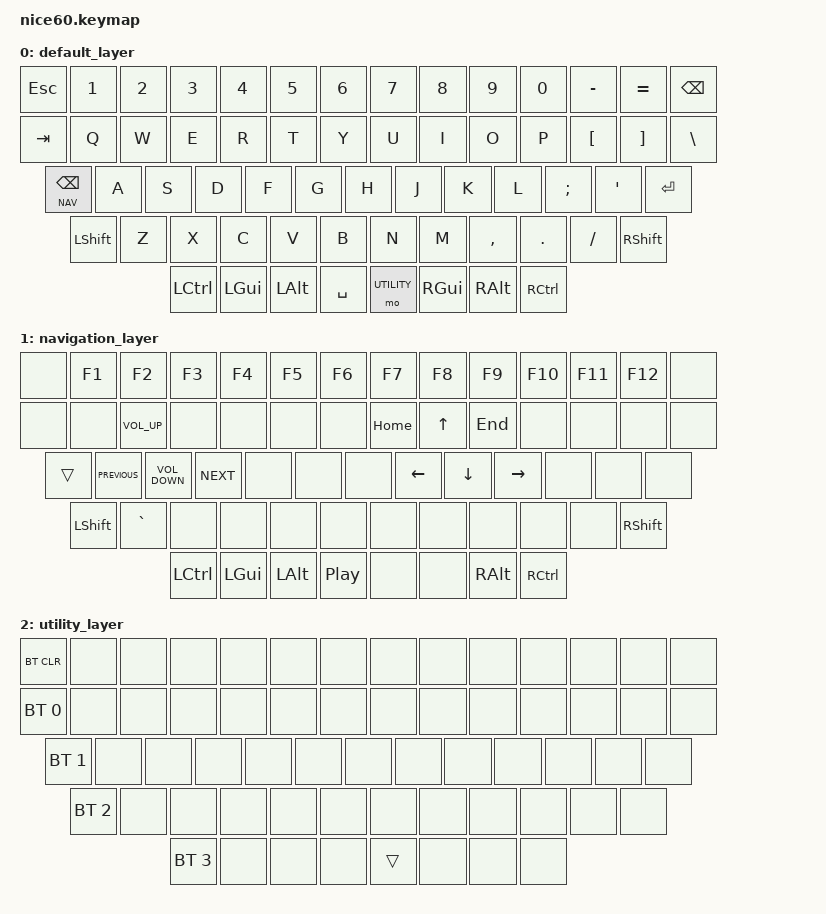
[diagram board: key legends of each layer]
/*
 * Copyright (c) 2021 Nick Winans
 *
 * SPDX-License-Identifier: MIT
 */

#include <behaviors.dtsi>
#include <dt-bindings/zmk/keys.h>
#include <dt-bindings/zmk/rgb.h>
#include <dt-bindings/zmk/bt.h>
#include <dt-bindings/zmk/outputs.h>
#include <dt-bindings/zmk/reset.h>
#include <dt-bindings/zmk/ext_power.h>

#define DEFAULT 0
#define NAV 	1
#define UTILITY 2

/ {
	keymap {
		compatible = "zmk,keymap";
		
		default_layer {
// ------------------------------------------------------------------------------------------
// | ESC |  1  |  2  |  3  |  4  |  5  |  6  |  7  |  8  |  9  |  0  |  -  |  =  |   BKSP   |
// | TAB  |  Q  |  W  |  E  |  R  |  T  |  Y  |  U  |  I  |  O  |  P  |  [  |  ]  |   "|"   |
// | CAPS  |  A  |  S  |  D  |  F  |  G  |  H  |  J  |  K  |  L  |  ;  |  '  |     ENTER    |
// |  SHIFT  |  Z  |  X  |  C  |  V  |  B  |  N  |  M  |  ,  |  .  |  /  |      SHIFT       |
// |  CTL  |  WIN  |  ALT  |            SPACE              |  ALT  |  WIN  |  MO(1) |  CTL  |
// ------------------------------------------------------------------------------------------
			bindings = <
	&kp ESC  &kp N1 &kp N2 &kp N3 &kp N4 &kp N5 &kp N6 &kp N7 &kp N8 &kp N9 &kp N0 &kp MINUS &kp EQUAL  &kp BSPC
	&kp TAB  &kp Q  &kp W  &kp E  &kp R  &kp T  &kp Y  &kp U  &kp I  &kp O  &kp P  &kp LBKT  &kp RBKT  &kp BSLH
	&lt NAV BKSP  &kp A  &kp S  &kp D  &kp F  &kp G  &kp H  &kp J  &kp K  &kp L  &kp SEMI &kp SQT           &kp RET
	&kp LSHFT   &kp Z  &kp X  &kp C  &kp V  &kp B  &kp N  &kp M  &kp COMMA &kp DOT &kp FSLH           &kp RSHFT
	&kp LCTRL &kp LGUI &kp LALT             &kp SPACE                     &mo UTILITY  &kp RGUI  &kp RALT  &kp RCTRL
			>;
		};

		navigation_layer {
// ------------------------------------------------------------------------------------------------
// | BT CLR | F1  | F2  | F3  | F4  | F5  | F6  | F7  | F8  | F9  | F10  | F11 | F12 | EFFECT REV |
// |  BT 1   |   |  UP |   | HUEUP | SATUP | BRIUP | SPDUP |   |     |    |     |     |           |
// |   BT 2   | LT |  DN  | RT | HUEDN | SATDN | BRIDN | SPDDN |   |     |   |     |  EFFECT FORW |
// |    BT 3     |     |      |      |     |     |     |     |     |     |     |                  |
// |   BT 4  |      |      |             TOG RGB                | PRT SCR |       |       |  DEL  |
// ------------------------------------------------------------------------------------------------
			bindings = <
	&none   &kp F1    &kp F2    &kp F3  &kp F4           &kp F5          &kp F6          &kp F7          &kp F8   &kp F9   &kp F10  &kp F11 &kp F12  &none
	&none  &none    &kp C_VOLUME_UP  &none &none  &none &none &kp HOME  &kp UP   &kp END   &none   &none  &none          &none
	&trans   &kp C_PREVIOUS  &kp C_VOLUME_DOWN  &kp C_NEXT &none &none &none &kp LEFT &kp DOWN   &kp RIGHT   &none   &none        &none
	&kp LSHFT   &kp GRAVE    &none    &none   &none          &none          &none          &none          &none   &none   &none                          &kp RSHFT
	&kp LCTRL  &kp LGUI   &kp LALT                            &kp C_PLAY_PAUSE                                      &none      &none      &kp RALT              &kp RCTRL
			>;
		};

		utility_layer {
// ------------------------------------------------------------------------------------------------
// | BT CLR | F1  | F2  | F3  | F4  | F5  | F6  | F7  | F8  | F9  | F10  | F11 | F12 | EFFECT REV |
// |  BT 1   |   |  UP |   | HUEUP | SATUP | BRIUP | SPDUP |   |     |    |     |     |           |
// |   BT 2   | LT |  DN  | RT | HUEDN | SATDN | BRIDN | SPDDN |   |     |   |     |  EFFECT FORW |
// |    BT 3     |     |      |      |     |     |     |     |     |     |     |                  |
// |   BT 4  |      |      |             TOG RGB                | PRT SCR |       |       |  DEL  |
// ------------------------------------------------------------------------------------------------
			bindings = <
	&bt BT_CLR   &none    &none   &none  &none           &none         &none        &none         &none   &none   &none  &none &none  &none
	&bt BT_SEL 0  &none    &none    &none  &none  &none &none &none  &none   &none   &none   &none  &none          &none 
	&bt BT_SEL 1   &none  &none  &none &none &none &none &none &none   &none   &none   &none        &none
	&bt BT_SEL 2    &none    &none    &none   &none          &none          &none          &none          &none   &none   &none                          &none
	&bt BT_SEL 3  &none   &none                            &none                                     &trans      &none      &none               &none
			>;
		};
	};
};
